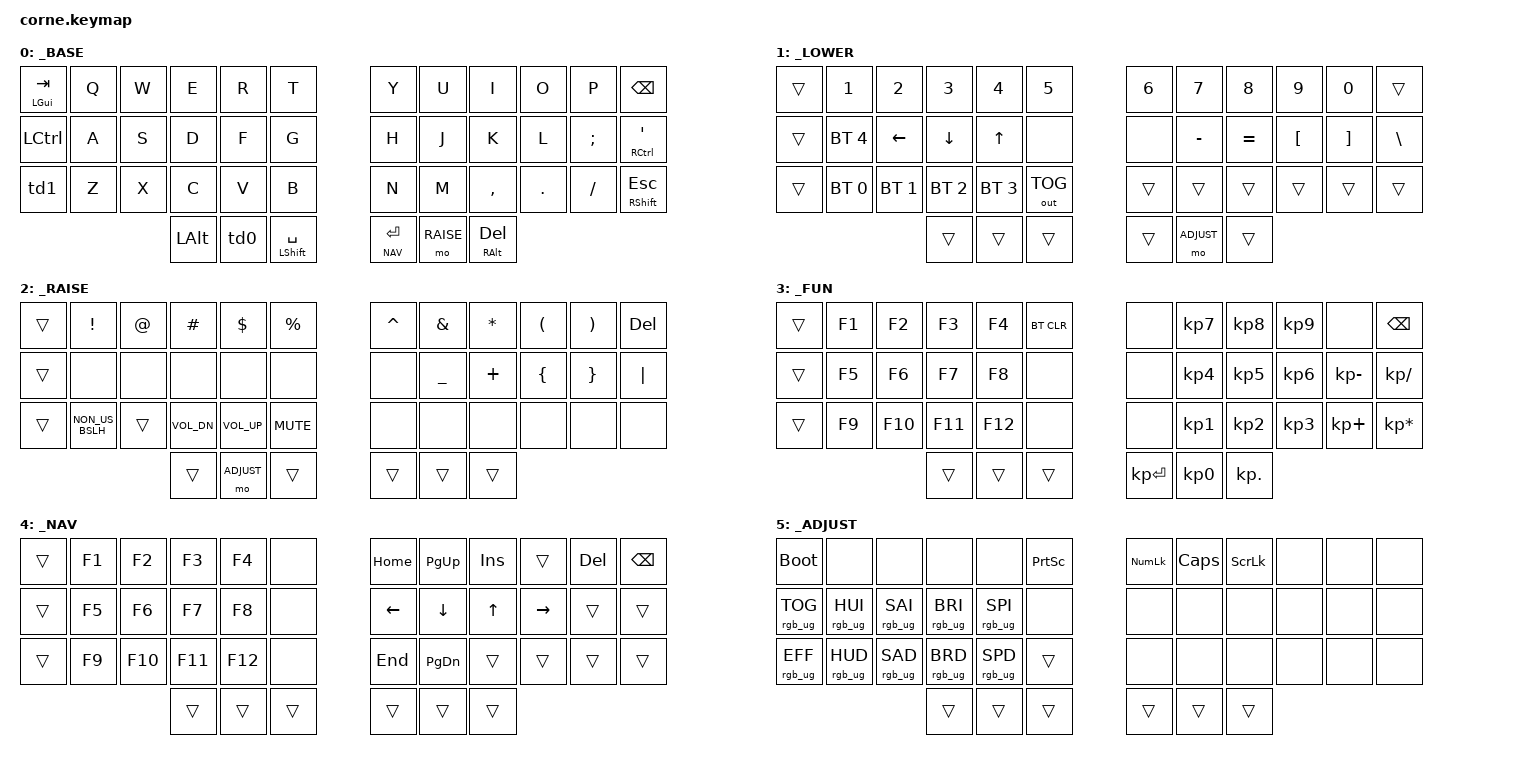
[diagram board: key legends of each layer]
/*
 * Copyright (c) 2020 The ZMK Contributors
 *
 * SPDX-License-Identifier: MIT
 */

#include <behaviors.dtsi>
#include <dt-bindings/led/led.h>
#include <dt-bindings/zmk/keys.h>
#include <dt-bindings/zmk/bt.h>
#include <dt-bindings/zmk/outputs.h>
#include <dt-bindings/zmk/rgb.h>

//#include <dt-bindings/zmk/mouse.h> /* to be able to use keyboard mouse */
/*
 * Temporarily here because nice nano v2 spi is not defined on ZMk Yet
 * Source: https://github.com/zmkfirmware/zmk/blob/main/app/boards/shields/reviung41/boards/nice_nano.overlay
 * GitHub Issue: https://github.com/zmkfirmware/zmk/issues/885
 */

&pinctrl {
    spi3_default: spi3_default {
        group1 {
            psels = <NRF_PSEL(SPIM_MOSI, 0, 6)>;
        };
    };

    spi3_sleep: spi3_sleep {
        group1 {
            psels = <NRF_PSEL(SPIM_MOSI, 0, 6)>;
            low-power-enable;
        };
    };
};

&spi3 {
    compatible = "nordic,nrf-spim";
    status = "okay";

    pinctrl-0 = <&spi3_default>;
    pinctrl-1 = <&spi3_sleep>;
    pinctrl-names = "default", "sleep";

    led_strip: ws2812@0 {
        compatible = "worldsemi,ws2812-spi";
        label = "WS2812";

        /* SPI */
        reg = <0>; /* ignored, but necessary for SPI bindings */
        spi-max-frequency = <4000000>;

        /* WS2812 */
        chain-length = <27>; /* arbitrary; change at will */
        spi-one-frame = <0x70>;
        spi-zero-frame = <0x40>;
        color-mapping = <LED_COLOR_ID_GREEN
                            LED_COLOR_ID_RED
                            LED_COLOR_ID_BLUE>;
    };
};

/ {
    chosen {
        zmk,underglow = &led_strip;
    };
};

/*
 * Above Temporarily here because nice nano v2 spi is not defined on ZMk Yet
 * Source: https://github.com/zmkfirmware/zmk/blob/main/app/boards/shields/reviung41/boards/nice_nano.overlay
 * GitHub Issue: https://github.com/zmkfirmware/zmk/issues/885
 */

/ {
    /*
 * tap dance test
 */

    behaviors {
        td0: tap_dance_0 {
            compatible = "zmk,behavior-tap-dance";
            label = "TAP_DANCE_0";
            #binding-cells = <0>;
            tapping-term-ms = <200>;
            bindings =
                <&mo 1>,
                <&mo 3>;
        };
        td1: tap_dance_1 {
            compatible = "zmk,behavior-tap-dance";
            label = "TAP_DANCE_1";
            #binding-cells = <0>;
            tapping-term-ms = <200>;
            bindings =
                <&kp LSHFT>,
                <&kp CAPS>;
        };
    };

/*
 * mouse conf
 */
    //&mmv {    
    //        time-to-max-speed-ms = <500>;
    //        acceleration-exponent=<1>;
    //};
    //&mwh {    
    //        time-to-max-speed-ms = <2000>;
    //        acceleration-exponent=<0>;
    //};
    /*
 * 
 * to do : template
 *
 */


/*
 * to do : alias layer 
 */
#define BASE 0   
#define LOWER 1
#define RAISE 2
#define FUN 3
#define NAV 4
#define ADJUST 5

    

/*to do : conditionnal layer
 * 
 *     conditional_layers {
 *         compatible = "zmk,conditional-layers";
 * 
 *         tri_layer {
 *             if-layers = <LOWER RAISE>;
 *             then-layer = <OPTION>;
 *         };
 *     };
 * 
 */
    /*
 * 
 * to do : macros
 *
 * macros {
 *         macro1: macro1 {
 *             compatible = "zmk,behavior-macro";
 *             label = "new_macro";
 *             #binding-cells = <0>;
 *             bindings = <&kp P &kp DOT &kp T &kp KP_MULTIPLY &kp NUMBER_0 &kp NUMBER_9 &kp NUMBER_8 &kp NUMBER_1 &kp NUMBER_6 &kp NUMBER_7 &kp NUMBER_9 &kp NUMBER_9 &kp NUMBER_0 &kp NUMBER_2 &kp PLUS &kp T &kp DOT &kp T &kp KP_MULTIPLY &kp PLUS &kp R &kp DOT &kp H>;
 *         };
 *     };
 *
 */
    /*
 * keymap
 */

    keymap {
        compatible = "zmk,keymap";

        _BASE {
            // -----------------------------------------------------------------------------------------
            // |FN/TAB|  Q  |  W  |  E  |  R  |   T    |   |  Y  |  U   |    I    |  O  |  P  | BKSP   |
            // | CTRL |  A  |  S  |  D  |  F  |   G    |   |  H  |  J   |    K    |  L  |  ;  |  '     |
            // |SFT/CP|  Z  |  X  |  C  |  V  |   B    |   |  N  |  M   |    ,    |  .  |  /  |ESC/RSFT|
            //              | LALT| LWR/FUN | SFT-SPC|   | ENT |  RSE | DEL/ALT |

            bindings = <
        &mt LEFT_GUI TAB   &kp Q   &kp W     &kp E   &kp R             &kp T         &kp Y   &kp U        &kp I    &kp O     &kp P                &kp BSPC
        &kp LCTRL   &kp A   &kp S     &kp D   &kp F             &kp G         &kp H   &kp J        &kp K    &kp L  &kp SEMI  &mt RCTRL SINGLE_QUOTE
        &td1   &kp Z   &kp X     &kp C   &kp V             &kp B         &kp N   &kp M    &kp COMMA  &kp DOT  &kp FSLH           &mt RSHFT ESC
                        &kp LALT   &td0  &mt LSHFT SPC     &lt NAV ENTER &mo RAISE  &mt RALT DEL
            >;
        };

        _LOWER {
            // -----------------------------------------------------------------------------------------
            // |      |  1  |  2  |  3  |  4  |  5  |   |  6  |  7  |  8  |  9  |  0  | BKSP |
            // |      | BT5 |LEFT | DOWN|  UP |RIGHT|   |     |  -  |  =  |  (  |  )  |   \  |
            // |      | BT1 | BT2 | BT3 | BT4 |USBTt|   |     |     |     |     |     |      |
            //                    | GUI |     |     |   |     |     | ALT |

            bindings = <
        &trans &kp N1          &kp N2          &kp N3          &kp N4          &kp N5          &kp N6  &kp N7     &kp N8       &kp N9              &kp N0              &trans
        &trans &bt BT_SEL 4    &kp LEFT        &kp DOWN        &kp UP          &none            &none   &kp MINUS  &kp EQUAL    &kp LEFT_BRACKET    &kp RIGHT_BRACKET   &kp BACKSLASH
        &trans &bt BT_SEL 0    &bt BT_SEL 1    &bt BT_SEL 2    &bt BT_SEL 3    &out OUT_TOG    &trans  &trans     &trans       &trans              &trans              &trans
                                               &trans          &trans          &trans          &trans  &mo ADJUST &trans
            >;
        };

        _RAISE {
            // -----------------------------------------------------------------------------------------
            // |      |   !  |  @  |  #  |  $  |  %  |   |  ^  |  &  |  *  |  (  |  )  | DEL  |
            // |      |      |     |     |     |     |   |  -  |  =  |  [  |  ]  |  \  |  `   |
            // |      |      |     |     |     |     |   |  _  |  +  |  {  |  }  | "|" |  ~   |
            //                     |     |     |     |   |     |     |     |

            bindings = <
        &trans &kp EXCL        &kp AT  &kp HASH      &kp DLLR      &kp PRCNT   &kp CARET   &kp AMPS        &kp ASTRK   &kp LPAR        &kp RPAR        &kp DEL
        &trans &none           &none   &none         &none         &none       &none       &kp UNDERSCORE  &kp PLUS    &kp LEFT_BRACE  &kp RIGHT_BRACE &kp PIPE
        &trans &kp NON_US_BSLH &trans  &kp C_VOL_DN  &kp C_VOL_UP  &kp C_MUTE  &none       &none           &none       &none           &none           &none
                                       &trans        &mo ADJUST    &trans      &trans      &trans          &trans
            >;
        };

        _FUN {
            // -----------------------------------------------------------------------------------------
            // |      | F1  | F2  | F3  | F4  | F5  |   |  -  |  7  |  8  |  9  |  +  |     |
            // |      | F6  | F7  | F8  | F9  | F10 |   |  *  |  4  |  5  |  6  | ,/. |     |
            // |      | F11 | F12 |     |     |     |   |  /  |  1  |  2  |  3  |  0  |  =  |
            //                    |     |     | SPC |   |     |     |     |

            bindings = <
        &trans   &kp F1   &kp F2  &kp F3  &kp F4   &bt BT_CLR   &none  &kp KP_N7     &kp KP_N8  &kp KP_N9   &none        &kp BACKSPACE
        &trans   &kp F5   &kp F6  &kp F7  &kp F8   &none        &none  &kp KP_N4     &kp KP_N5  &kp KP_N6   &kp KP_MINUS &kp KP_DIVIDE
        &trans   &kp F9  &kp F10  &kp F11 &kp F12  &none        &none  &kp KP_N1     &kp KP_N2  &kp KP_N3   &kp KP_PLUS  &kp KP_MULTIPLY
                                  &trans  &trans   &trans       &kp KP_ENTER  &kp KP_N0  &kp KP_DOT
            >;
        };

        _NAV {
            bindings = <
        &trans  &kp F1   &kp F2   &kp F3   &kp F4   &none      &kp HOME  &kp PG_UP  &kp INS  &trans    &kp DEL  &kp BACKSPACE
        &trans  &kp F5   &kp F6   &kp F7   &kp F8   &none      &kp LEFT  &kp DOWN   &kp UP   &kp RIGHT &trans   &trans
        &trans  &kp F9   &kp F10  &kp F11  &kp F12  &none      &kp END   &kp PG_DN  &trans   &trans    &trans   &trans
                                  &trans   &trans  &trans      &trans     &trans   &trans
            >;
        };

        _ADJUST {
            // -----------------------------------------------------------------------------------------
            // | RESET|      |     |     |     |     |   |  -  |  7  |  8  |  9  |  +  |     |
            // |      |  RGB+|RGBsi| Hue |     |     |   |  *  |  4  |  5  |  6  |  .  |     |
            // |      |  RGB-|RGBsd| Blue|White|Green|   |  /  |  1  |  2  |  3  |  0  |  =  |
            //                     |     |     | SPC |   |     |     |     |

            bindings = <
        &bootloader      &none            &none            &none            &none                   &kp PRINTSCREEN &kp KP_NUMLOCK  &kp CAPS    &kp SCROLLLOCK &none    &none   &none
        &rgb_ug RGB_TOG  &rgb_ug RGB_HUI  &rgb_ug RGB_SAI  &rgb_ug RGB_BRI  &rgb_ug RGB_SPI         &none           &none           &none       &none          &none    &none   &none
        &rgb_ug RGB_EFF  &rgb_ug RGB_HUD  &rgb_ug RGB_SAD  &rgb_ug RGB_BRD  &rgb_ug RGB_SPD         &trans          &none           &none       &none          &none    &none   &none
                                          &trans           &trans           &trans                  &trans          &trans          &trans
            >;
        };
    };
};
